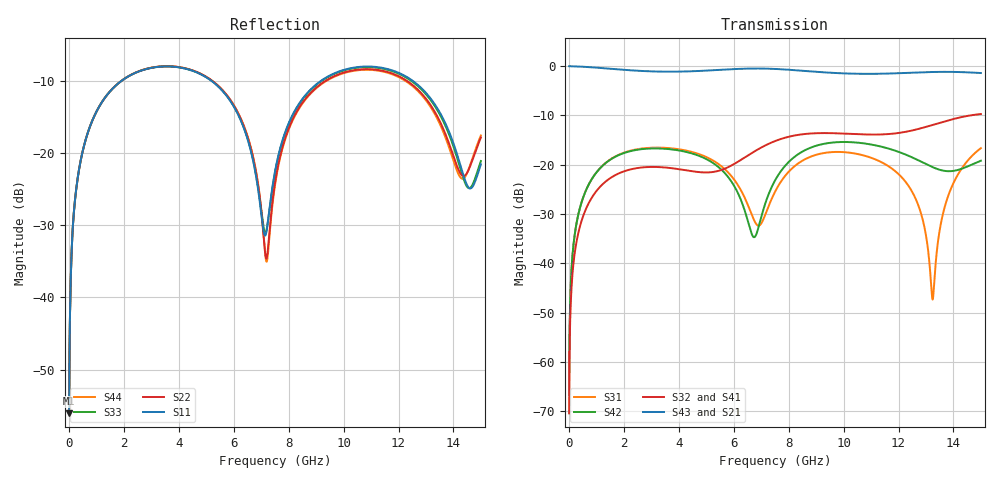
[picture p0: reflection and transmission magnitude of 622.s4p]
! Created with skrf 1.8.0 (http://scikit-rf.org).
# GHz S RI R 50.0
!freq ReS11 ImS11 ReS12 ImS12 ReS13 ImS13
! ReS14 ImS14
! ReS21 ImS21 ReS22 ImS22 ReS23 ImS23
! ReS24 ImS24
! ReS31 ImS31 ReS32 ImS32 ReS33 ImS33
! ReS34 ImS34
! ReS41 ImS41 ReS42 ImS42 ReS43 ImS43
! ReS44 ImS44
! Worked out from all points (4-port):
!   2499 points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, 5 MHz to 15 GHz, reference 50 ohm
!   strongest paths, dB at 5 MHz, 3.476 GHz, 7.19 GHz, 11.1 GHz, 15 GHz:
!     S43: 0.0, -1.1, -0.5, -1.6, -1.4
!     S21: 0.0, -1.1, -0.5, -1.6, -1.4
!     S32: -70.4, -20.6, -16.0, -13.9, -9.7
!     S41: -70.4, -20.6, -16.0, -13.9, -9.7
!     S42: -66.6, -16.8, -27.2, -16.0, -19.2
!     S31: -66.6, -16.6, -29.5, -18.8, -16.6
!   lowest |S11| = -56.0 dB at 5 MHz (marker M1), VSWR 1.00, Z = 50.1 + j0.0962 ohm
!   |S11| at or under -10 dB: start of sweep to 1.922 GHz; 5.182 GHz to 9.184 GHz (4.001 GHz wide, 55.7 % of centre); 12.51 GHz to end of sweep
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0.005  0.00126 0.00096  0.9987 -0.00245  6.08e-05 0.000462  -5.93e-05 -0.000295
       0.9987 -0.00245  0.00126 0.00096  -5.93e-05 -0.000295  6.08e-05 0.000462
       6.08e-05 0.000462  -5.93e-05 -0.000295  0.00126 0.00096  0.9987 -0.00245
       -5.93e-05 -0.000295  6.08e-05 0.000462  0.9987 -0.00245  0.00126 0.00096
0.4126719  0.0232 0.0827  0.9679 -0.2  0.0105 0.0362  -0.00865 -0.0228
           0.9679 -0.2  0.0233 0.0827  -0.00865 -0.0228  0.0102 0.0362
           0.0105 0.0362  -0.00865 -0.0228  0.0232 0.0827  0.9679 -0.2
           -0.00865 -0.0228  0.0102 0.0362  0.9679 -0.2  0.0233 0.0827
2.175907  0.2923 0.1734  0.5012 -0.759  0.1289 0.0473  -0.0885 0.00134
          0.5012 -0.759  0.2937 0.1723  -0.0886 0.00142  0.1251 0.0531
          0.1289 0.0473  -0.0886 0.00142  0.2923 0.1735  0.5012 -0.759
          -0.0885 0.00134  0.1251 0.0531  0.5012 -0.759  0.2937 0.1723
7.171738  0.0269 0.00539  -0.9416 -0.0547  -0.018 0.0268  -0.00535 0.1579
          -0.9416 -0.0547  0.0185 -0.0031  -0.00408 0.1579  0.0289 0.0308
          -0.018 0.0268  -0.00408 0.1579  0.0281 0.00365  -0.9416 -0.0554
          -0.00535 0.1579  0.0289 0.0308  -0.9416 -0.0554  0.0176 -0.00487
11.26719  0.3873 -0.0597  0.069 0.8316  0.0929 -0.0585  0.1919 -0.0624
          0.069 0.8316  0.3722 -0.0443  0.1917 -0.0648  0.0891 -0.1267
          0.0929 -0.0585  0.1917 -0.0648  0.3828 -0.0602  0.0698 0.8333
          0.1919 -0.0624  0.0891 -0.1267  0.0698 0.8333  0.3683 -0.0436
13.24302  0.1543 -0.1679  0.6894 0.5314  -0.00425 -0.000547  0.1511 -0.2027
          0.6894 0.5314  0.1496 -0.1385  0.1482 -0.2052  -0.0747 -0.0577
          -0.00425 -0.000547  0.1482 -0.2052  0.1504 -0.1634  0.6921 0.5302
          0.1511 -0.2027  -0.0747 -0.0577  0.6921 0.5302  0.1447 -0.1344
15  0.0702 0.0449  0.8424 -0.1222  0.1099 0.0979  -0.063 -0.3202
    0.8424 -0.1222  0.0971 0.0831  -0.068 -0.3195  -0.00162 0.1097
    0.1099 0.0979  -0.068 -0.3195  0.0723 0.0501  0.8414 -0.1254
    -0.063 -0.3202  -0.00162 0.1097  0.8414 -0.1254  0.0965 0.0902
